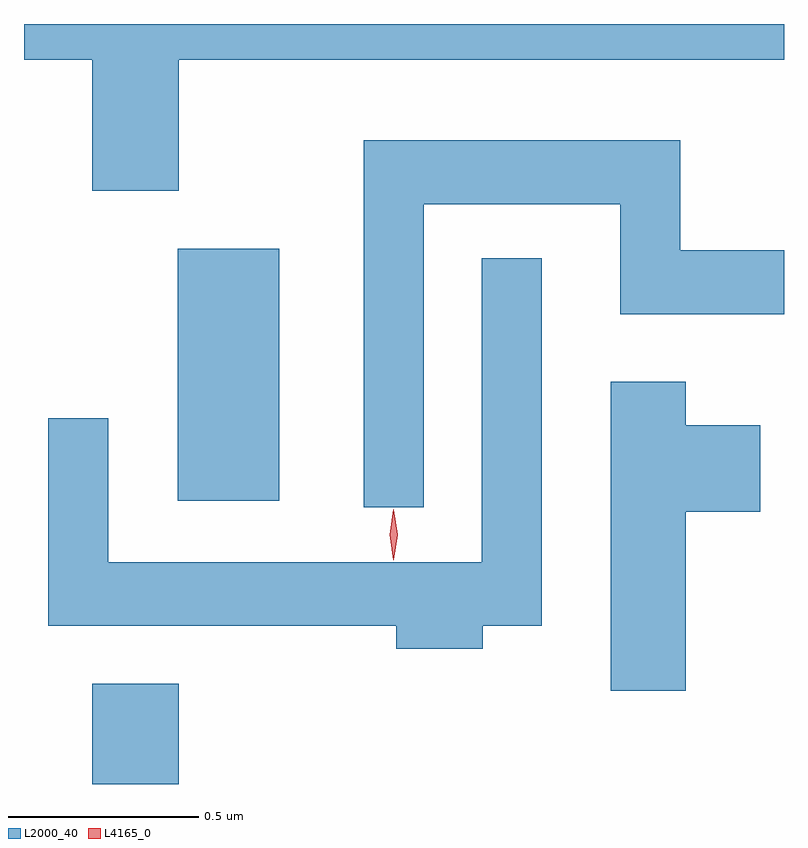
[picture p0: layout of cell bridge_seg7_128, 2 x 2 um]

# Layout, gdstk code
import gdstk
lib = gdstk.Library(unit=1e-6, precision=1e-09)
def R(c, l, rs):  # rectangles x0, y0, x1, y1
    for r in rs: c.add(gdstk.rectangle(r[:2], r[2:], *l))
def P(c, l, *ps):  # polygons
    for p in ps: c.add(gdstk.Polygon(p, *l))
L2000_40 = (2000, 40)
L4165_0 = (4165, 0)

bridge_seg7_128 = lib.new_cell('bridge_seg7_128')
R(bridge_seg7_128, L2000_40, [(1555.551,1787.89,1555.779,1788.154), (1555.776,1788.636,1556.044,1789.299)])
P(bridge_seg7_128, L2000_40, [(1555.779,1789.796),(1557.372,1789.796),(1557.372,1789.89),(1555.372,1789.89),(1555.372,1789.796),(1555.551,1789.796),(1555.551,1789.451),(1555.779,1789.451)],
  [(1556.424,1789.416),(1556.941,1789.416),(1556.941,1789.126),(1557.372,1789.126),(1557.372,1789.294),(1557.099,1789.294),(1557.099,1789.584),(1556.266,1789.584),(1556.266,1788.618),(1556.424,1788.618)],
  [(1556.579,1788.306),(1556.734,1788.306),(1556.734,1789.273),(1556.576,1789.273),(1556.576,1788.474),(1555.594,1788.474),(1555.594,1788.853),(1555.436,1788.853),(1555.436,1788.306),(1556.351,1788.306),(1556.351,1788.246),(1556.579,1788.246)],
  [(1557.114,1788.606),(1557.309,1788.606),(1557.309,1788.834),(1557.114,1788.834),(1557.114,1788.949),(1556.916,1788.949),(1556.916,1788.136),(1557.114,1788.136)])
P(bridge_seg7_128, L4165_0, [(1556.345,1788.479),(1556.344,1788.48),(1556.335,1788.546),(1556.344,1788.612),(1556.345,1788.613),(1556.345,1788.612),(1556.355,1788.546),(1556.345,1788.48)])

lib.write_gds('bridge_seg7_128.gds')
